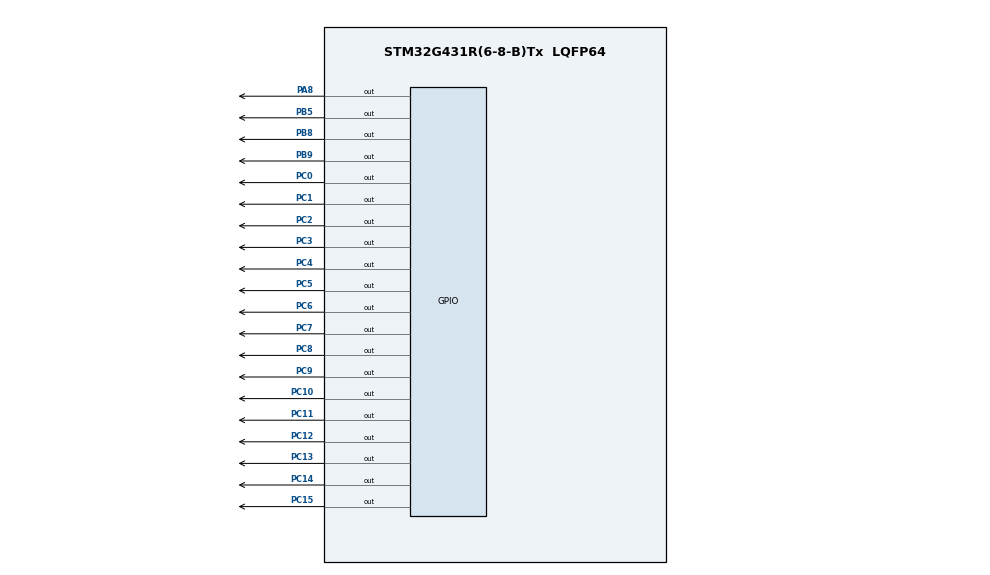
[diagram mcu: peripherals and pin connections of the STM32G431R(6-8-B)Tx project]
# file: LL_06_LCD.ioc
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Mcu.Family=STM32G4
Mcu.Name=STM32G431R(6-8-B)Tx
Mcu.Package=LQFP64
NVIC.PriorityGroup=NVIC_PRIORITYGROUP_4
PA8.Signal=GPIO_Output
PB5.Signal=GPIO_Output
PB8-BOOT0.Signal=GPIO_Output
PB9.Signal=GPIO_Output
PC0.Signal=GPIO_Output
PC1.Signal=GPIO_Output
PC10.Signal=GPIO_Output
PC11.Signal=GPIO_Output
PC12.Signal=GPIO_Output
PC13.Signal=GPIO_Output
PC14-OSC32_IN.Signal=GPIO_Output
PC15-OSC32_OUT.Signal=GPIO_Output
PC2.Signal=GPIO_Output
PC3.Signal=GPIO_Output
PC4.Signal=GPIO_Output
PC5.Signal=GPIO_Output
PC6.Signal=GPIO_Output
PC7.Signal=GPIO_Output
PC8.Signal=GPIO_Output
PC9.Signal=GPIO_Output
PF0-OSC_IN.Mode=HSE-External-Oscillator
PF0-OSC_IN.Signal=RCC_OSC_IN
PF1-OSC_OUT.Mode=HSE-External-Oscillator
PF1-OSC_OUT.Signal=RCC_OSC_OUT
ProjectManager.HeapSize=0x200
ProjectManager.StackSize=0x400
ProjectManager.TargetToolchain=MDK-ARM V5.27
RCC.ADC12Freq_Value=80000000
RCC.AHBFreq_Value=80000000
RCC.APB1Freq_Value=80000000
RCC.APB1TimFreq_Value=80000000
RCC.APB2Freq_Value=80000000
RCC.APB2TimFreq_Value=80000000
RCC.CortexFreq_Value=80000000
RCC.EXTERNAL_CLOCK_VALUE=12288000
RCC.HCLKFreq_Value=80000000
RCC.HSE_VALUE=24000000
RCC.HSI48_VALUE=48000000
RCC.HSI_VALUE=16000000
RCC.LSE_VALUE=32768
RCC.PLLM=RCC_PLLM_DIV2
RCC.PLLN=20
RCC.SYSCLKFreq_VALUE=80000000
RCC.SYSCLKSource=RCC_SYSCLKSOURCE_PLLCLK
RCC.USBFreq_Value=80000000
RCC.VCOOutputFreq_Value=160000000
VP_SYS_VS_DBSignals.Mode=DisableDeadBatterySignals
board=custom

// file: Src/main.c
/* USER CODE BEGIN Header */
/**
  ******************************************************************************
  * @file           : main.c
  * @brief          : Main program body
  ******************************************************************************
  * @attention
  *
  * <h2><center>&copy; Copyright (c) 2021 STMicroelectronics.
  * All rights reserved.</center></h2>
  *
  * This software component is licensed by ST under BSD 3-Clause license,
  * the "License"; You may not use this file except in compliance with the
  * License. You may obtain a copy of the License at:
  *                        opensource.org/licenses/BSD-3-Clause
  *
  ******************************************************************************
  */
/* USER CODE END Header */

#include "main.h"

void SystemClock_Config(void);
static void MX_GPIO_Init(void);

int main(void)
{

    /* MCU Configuration--------------------------------------------------------*/

    /* Reset of all peripherals, Initializes the Flash interface and the Systick. */

    LL_APB2_GRP1_EnableClock(LL_APB2_GRP1_PERIPH_SYSCFG);
    LL_APB1_GRP1_EnableClock(LL_APB1_GRP1_PERIPH_PWR);

    NVIC_SetPriorityGrouping(NVIC_PRIORITYGROUP_4);

    /* System interrupt init*/

    /** Disable the internal Pull-Up in Dead Battery pins of UCPD peripheral
    */
    LL_PWR_DisableDeadBatteryPD();

    /* Configure the system clock */
    SystemClock_Config();

    /* Initialize all configured peripherals */
    MX_GPIO_Init();
    /* USER CODE BEGIN 2 */
    LCD_Init();

    /* Infinite loop */
    /* USER CODE BEGIN WHILE */

    LCD_Clear(Blue);
    LCD_SetBackColor(Blue);
    LCD_SetTextColor(White);

    LCD_DrawLine(120, 0, 320, Horizontal);
    LCD_DrawLine(0, 160, 240, Vertical);
    LL_mDelay(1000);
    LCD_Clear(Blue);

    LCD_DrawRect(70, 210, 100, 100);
    LL_mDelay(1000);
    LCD_Clear(Blue);

    LCD_DrawCircle(120, 160, 50);
    LL_mDelay(1000);

    LCD_Clear(Blue);
    LCD_DisplayStringLine(Line4, (unsigned char *)"    Hello,world.   ");
    LL_mDelay(1000);

    LCD_SetBackColor(White);
    LCD_DisplayStringLine(Line0, (unsigned char *)"                    ");
    LCD_SetBackColor(Black);
    LCD_DisplayStringLine(Line1, (unsigned char *)"                    ");
    LCD_SetBackColor(Grey);
    LCD_DisplayStringLine(Line2, (unsigned char *)"                    ");
    LCD_SetBackColor(Blue);
    LCD_DisplayStringLine(Line3, (unsigned char *)"                    ");
    LCD_SetBackColor(Blue2);
    LCD_DisplayStringLine(Line4, (unsigned char *)"                    ");
    LCD_SetBackColor(Red);
    LCD_DisplayStringLine(Line5, (unsigned char *)"                    ");
    LCD_SetBackColor(Magenta);
    LCD_DisplayStringLine(Line6, (unsigned char *)"                    ");
    LCD_SetBackColor(Green);
    LCD_DisplayStringLine(Line7, (unsigned char *)"                    ");
    LCD_SetBackColor(Cyan);
    LCD_DisplayStringLine(Line8, (unsigned char *)"                    ");
    LCD_SetBackColor(Yellow);
    LCD_DisplayStringLine(Line9, (unsigned char *)"                    ");

    /* USER CODE END 2 */

    /* Infinite loop */
    while (1)
    {

    }
}

void SystemClock_Config(void)
{
    LL_FLASH_SetLatency(LL_FLASH_LATENCY_3);

    if(LL_FLASH_GetLatency() != LL_FLASH_LATENCY_3)
    {
        Error_Handler();
    }
    LL_PWR_SetRegulVoltageScaling(LL_PWR_REGU_VOLTAGE_SCALE1);
    LL_RCC_HSI_Enable();

    /* Wait till HSI is ready */
    while(LL_RCC_HSI_IsReady() != 1)
    {

    }
    LL_RCC_HSI_SetCalibTrimming(64);
    LL_RCC_PLL_ConfigDomain_SYS(LL_RCC_PLLSOURCE_HSI, LL_RCC_PLLM_DIV_2, 20, LL_RCC_PLLR_DIV_2);
    LL_RCC_PLL_EnableDomain_SYS();
    LL_RCC_PLL_Enable();

    /* Wait till PLL is ready */
    while(LL_RCC_PLL_IsReady() != 1)
    {

    }
    LL_RCC_SetSysClkSource(LL_RCC_SYS_CLKSOURCE_PLL);

    /* Wait till System clock is ready */
    while(LL_RCC_GetSysClkSource() != LL_RCC_SYS_CLKSOURCE_STATUS_PLL)
    {

    }
    /* Set AHB prescaler*/
    LL_RCC_SetAHBPrescaler(LL_RCC_SYSCLK_DIV_1);
    LL_RCC_SetAPB1Prescaler(LL_RCC_APB1_DIV_1);
    LL_RCC_SetAPB2Prescaler(LL_RCC_APB1_DIV_1);

    LL_Init1msTick(80000000);

    LL_SetSystemCoreClock(80000000);
}

static void MX_GPIO_Init(void)
{
    LL_GPIO_InitTypeDef GPIO_InitStruct = {0};

    /* GPIO Ports Clock Enable */
    LL_AHB2_GRP1_EnableClock(LL_AHB2_GRP1_PERIPH_GPIOC);
    LL_AHB2_GRP1_EnableClock(LL_AHB2_GRP1_PERIPH_GPIOF);
    LL_AHB2_GRP1_EnableClock(LL_AHB2_GRP1_PERIPH_GPIOA);
    LL_AHB2_GRP1_EnableClock(LL_AHB2_GRP1_PERIPH_GPIOB);

    /**/
    LL_GPIO_ResetOutputPin(GPIOC, LL_GPIO_PIN_13);

    /**/
    LL_GPIO_ResetOutputPin(GPIOC, LL_GPIO_PIN_14);

    /**/
    LL_GPIO_ResetOutputPin(GPIOC, LL_GPIO_PIN_15);

    /**/
    LL_GPIO_ResetOutputPin(GPIOC, LL_GPIO_PIN_0);

    /**/
    LL_GPIO_ResetOutputPin(GPIOC, LL_GPIO_PIN_1);

    /**/
    LL_GPIO_ResetOutputPin(GPIOC, LL_GPIO_PIN_2);

    /**/
    LL_GPIO_ResetOutputPin(GPIOC, LL_GPIO_PIN_3);

    /**/
    LL_GPIO_ResetOutputPin(GPIOC, LL_GPIO_PIN_4);

    /**/
    LL_GPIO_ResetOutputPin(GPIOC, LL_GPIO_PIN_5);

    /**/
    LL_GPIO_ResetOutputPin(GPIOC, LL_GPIO_PIN_6);

    /**/
    LL_GPIO_ResetOutputPin(GPIOC, LL_GPIO_PIN_7);

    /**/
    LL_GPIO_ResetOutputPin(GPIOC, LL_GPIO_PIN_8);

    /**/
    LL_GPIO_ResetOutputPin(GPIOC, LL_GPIO_PIN_9);

    /**/
    LL_GPIO_ResetOutputPin(GPIOA, LL_GPIO_PIN_8);

    /**/
    LL_GPIO_ResetOutputPin(GPIOC, LL_GPIO_PIN_10);

    /**/
    LL_GPIO_ResetOutputPin(GPIOC, LL_GPIO_PIN_11);

    /**/
    LL_GPIO_ResetOutputPin(GPIOC, LL_GPIO_PIN_12);

    /**/
    LL_GPIO_ResetOutputPin(GPIOB, LL_GPIO_PIN_5);

    /**/
    LL_GPIO_ResetOutputPin(GPIOB, LL_GPIO_PIN_8);

    /**/
    LL_GPIO_ResetOutputPin(GPIOB, LL_GPIO_PIN_9);

    /**/
    GPIO_InitStruct.Pin = LL_GPIO_PIN_13;
    GPIO_InitStruct.Mode = LL_GPIO_MODE_OUTPUT;
    GPIO_InitStruct.Speed = LL_GPIO_SPEED_FREQ_LOW;
    GPIO_InitStruct.OutputType = LL_GPIO_OUTPUT_PUSHPULL;
    GPIO_InitStruct.Pull = LL_GPIO_PULL_NO;
    LL_GPIO_Init(GPIOC, &GPIO_InitStruct);

    /**/
    GPIO_InitStruct.Pin = LL_GPIO_PIN_14;
    GPIO_InitStruct.Mode = LL_GPIO_MODE_OUTPUT;
    GPIO_InitStruct.Speed = LL_GPIO_SPEED_FREQ_LOW;
    GPIO_InitStruct.OutputType = LL_GPIO_OUTPUT_PUSHPULL;
    GPIO_InitStruct.Pull = LL_GPIO_PULL_NO;
    LL_GPIO_Init(GPIOC, &GPIO_InitStruct);

    /**/
    GPIO_InitStruct.Pin = LL_GPIO_PIN_15;
    GPIO_InitStruct.Mode = LL_GPIO_MODE_OUTPUT;
    GPIO_InitStruct.Speed = LL_GPIO_SPEED_FREQ_LOW;
    GPIO_InitStruct.OutputType = LL_GPIO_OUTPUT_PUSHPULL;
    GPIO_InitStruct.Pull = LL_GPIO_PULL_NO;
    LL_GPIO_Init(GPIOC, &GPIO_InitStruct);

    /**/
    GPIO_InitStruct.Pin = LL_GPIO_PIN_0;
    GPIO_InitStruct.Mode = LL_GPIO_MODE_OUTPUT;
    GPIO_InitStruct.Speed = LL_GPIO_SPEED_FREQ_LOW;
    GPIO_InitStruct.OutputType = LL_GPIO_OUTPUT_PUSHPULL;
    GPIO_InitStruct.Pull = LL_GPIO_PULL_NO;
    LL_GPIO_Init(GPIOC, &GPIO_InitStruct);

    /**/
    GPIO_InitStruct.Pin = LL_GPIO_PIN_1;
    GPIO_InitStruct.Mode = LL_GPIO_MODE_OUTPUT;
    GPIO_InitStruct.Speed = LL_GPIO_SPEED_FREQ_LOW;
    GPIO_InitStruct.OutputType = LL_GPIO_OUTPUT_PUSHPULL;
    GPIO_InitStruct.Pull = LL_GPIO_PULL_NO;
    LL_GPIO_Init(GPIOC, &GPIO_InitStruct);

    /**/
    GPIO_InitStruct.Pin = LL_GPIO_PIN_2;
    GPIO_InitStruct.Mode = LL_GPIO_MODE_OUTPUT;
    GPIO_InitStruct.Speed = LL_GPIO_SPEED_FREQ_LOW;
    GPIO_InitStruct.OutputType = LL_GPIO_OUTPUT_PUSHPULL;
    GPIO_InitStruct.Pull = LL_GPIO_PULL_NO;
    LL_GPIO_Init(GPIOC, &GPIO_InitStruct);

    /**/
    GPIO_InitStruct.Pin = LL_GPIO_PIN_3;
    GPIO_InitStruct.Mode = LL_GPIO_MODE_OUTPUT;
    GPIO_InitStruct.Speed = LL_GPIO_SPEED_FREQ_LOW;
    GPIO_InitStruct.OutputType = LL_GPIO_OUTPUT_PUSHPULL;
    GPIO_InitStruct.Pull = LL_GPIO_PULL_NO;
    LL_GPIO_Init(GPIOC, &GPIO_InitStruct);

    /**/
    GPIO_InitStruct.Pin = LL_GPIO_PIN_4;
    GPIO_InitStruct.Mode = LL_GPIO_MODE_OUTPUT;
    GPIO_InitStruct.Speed = LL_GPIO_SPEED_FREQ_LOW;
    GPIO_InitStruct.OutputType = LL_GPIO_OUTPUT_PUSHPULL;
    GPIO_InitStruct.Pull = LL_GPIO_PULL_NO;
    LL_GPIO_Init(GPIOC, &GPIO_InitStruct);

    /**/
    GPIO_InitStruct.Pin = LL_GPIO_PIN_5;
    GPIO_InitStruct.Mode = LL_GPIO_MODE_OUTPUT;
    GPIO_InitStruct.Speed = LL_GPIO_SPEED_FREQ_LOW;
    GPIO_InitStruct.OutputType = LL_GPIO_OUTPUT_PUSHPULL;
    GPIO_InitStruct.Pull = LL_GPIO_PULL_NO;
    LL_GPIO_Init(GPIOC, &GPIO_InitStruct);

    /**/
    GPIO_InitStruct.Pin = LL_GPIO_PIN_6;
    GPIO_InitStruct.Mode = LL_GPIO_MODE_OUTPUT;
    GPIO_InitStruct.Speed = LL_GPIO_SPEED_FREQ_LOW;
    GPIO_InitStruct.OutputType = LL_GPIO_OUTPUT_PUSHPULL;
    GPIO_InitStruct.Pull = LL_GPIO_PULL_NO;
    LL_GPIO_Init(GPIOC, &GPIO_InitStruct);

    /**/
    GPIO_InitStruct.Pin = LL_GPIO_PIN_7;
    GPIO_InitStruct.Mode = LL_GPIO_MODE_OUTPUT;
    GPIO_InitStruct.Speed = LL_GPIO_SPEED_FREQ_LOW;
    GPIO_InitStruct.OutputType = LL_GPIO_OUTPUT_PUSHPULL;
    GPIO_InitStruct.Pull = LL_GPIO_PULL_NO;
    LL_GPIO_Init(GPIOC, &GPIO_InitStruct);

    /**/
    GPIO_InitStruct.Pin = LL_GPIO_PIN_8;
    GPIO_InitStruct.Mode = LL_GPIO_MODE_OUTPUT;
    GPIO_InitStruct.Speed = LL_GPIO_SPEED_FREQ_LOW;
    GPIO_InitStruct.OutputType = LL_GPIO_OUTPUT_PUSHPULL;
    GPIO_InitStruct.Pull = LL_GPIO_PULL_NO;
    LL_GPIO_Init(GPIOC, &GPIO_InitStruct);

    /**/
    GPIO_InitStruct.Pin = LL_GPIO_PIN_9;
    GPIO_InitStruct.Mode = LL_GPIO_MODE_OUTPUT;
    GPIO_InitStruct.Speed = LL_GPIO_SPEED_FREQ_LOW;
    GPIO_InitStruct.OutputType = LL_GPIO_OUTPUT_PUSHPULL;
    GPIO_InitStruct.Pull = LL_GPIO_PULL_NO;
    LL_GPIO_Init(GPIOC, &GPIO_InitStruct);

    /**/
    GPIO_InitStruct.Pin = LL_GPIO_PIN_8;
    GPIO_InitStruct.Mode = LL_GPIO_MODE_OUTPUT;
    GPIO_InitStruct.Speed = LL_GPIO_SPEED_FREQ_LOW;
    GPIO_InitStruct.OutputType = LL_GPIO_OUTPUT_PUSHPULL;
    GPIO_InitStruct.Pull = LL_GPIO_PULL_NO;
    LL_GPIO_Init(GPIOA, &GPIO_InitStruct);

    /**/
    GPIO_InitStruct.Pin = LL_GPIO_PIN_10;
    GPIO_InitStruct.Mode = LL_GPIO_MODE_OUTPUT;
    GPIO_InitStruct.Speed = LL_GPIO_SPEED_FREQ_LOW;
    GPIO_InitStruct.OutputType = LL_GPIO_OUTPUT_PUSHPULL;
    GPIO_InitStruct.Pull = LL_GPIO_PULL_NO;
    LL_GPIO_Init(GPIOC, &GPIO_InitStruct);

    /**/
    GPIO_InitStruct.Pin = LL_GPIO_PIN_11;
    GPIO_InitStruct.Mode = LL_GPIO_MODE_OUTPUT;
    GPIO_InitStruct.Speed = LL_GPIO_SPEED_FREQ_LOW;
    GPIO_InitStruct.OutputType = LL_GPIO_OUTPUT_PUSHPULL;
    GPIO_InitStruct.Pull = LL_GPIO_PULL_NO;
    LL_GPIO_Init(GPIOC, &GPIO_InitStruct);

    /**/
    GPIO_InitStruct.Pin = LL_GPIO_PIN_12;
    GPIO_InitStruct.Mode = LL_GPIO_MODE_OUTPUT;
    GPIO_InitStruct.Speed = LL_GPIO_SPEED_FREQ_LOW;
    GPIO_InitStruct.OutputType = LL_GPIO_OUTPUT_PUSHPULL;
    GPIO_InitStruct.Pull = LL_GPIO_PULL_NO;
    LL_GPIO_Init(GPIOC, &GPIO_InitStruct);

    /**/
    GPIO_InitStruct.Pin = LL_GPIO_PIN_5;
    GPIO_InitStruct.Mode = LL_GPIO_MODE_OUTPUT;
    GPIO_InitStruct.Speed = LL_GPIO_SPEED_FREQ_LOW;
    GPIO_InitStruct.OutputType = LL_GPIO_OUTPUT_PUSHPULL;
    GPIO_InitStruct.Pull = LL_GPIO_PULL_NO;
    LL_GPIO_Init(GPIOB, &GPIO_InitStruct);

    /**/
    GPIO_InitStruct.Pin = LL_GPIO_PIN_8;
    GPIO_InitStruct.Mode = LL_GPIO_MODE_OUTPUT;
    GPIO_InitStruct.Speed = LL_GPIO_SPEED_FREQ_LOW;
    GPIO_InitStruct.OutputType = LL_GPIO_OUTPUT_PUSHPULL;
    GPIO_InitStruct.Pull = LL_GPIO_PULL_NO;
    LL_GPIO_Init(GPIOB, &GPIO_InitStruct);

    /**/
    GPIO_InitStruct.Pin = LL_GPIO_PIN_9;
    GPIO_InitStruct.Mode = LL_GPIO_MODE_OUTPUT;
    GPIO_InitStruct.Speed = LL_GPIO_SPEED_FREQ_LOW;
    GPIO_InitStruct.OutputType = LL_GPIO_OUTPUT_PUSHPULL;
    GPIO_InitStruct.Pull = LL_GPIO_PULL_NO;
    LL_GPIO_Init(GPIOB, &GPIO_InitStruct);

}

void Error_Handler(void)
{
}

/************************ (C) COPYRIGHT STMicroelectronics *****END OF FILE****/
